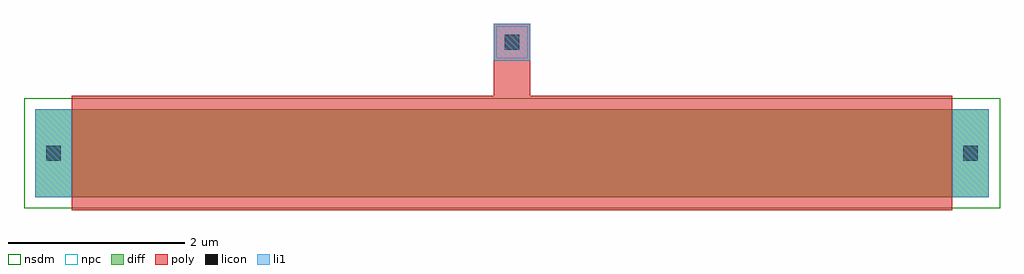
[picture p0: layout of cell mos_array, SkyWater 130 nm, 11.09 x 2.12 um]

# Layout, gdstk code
import gdstk
lib = gdstk.Library(unit=1e-6, precision=1e-09)
def R(c, l, rs):  # rectangles x0, y0, x1, y1
    for r in rs: c.add(gdstk.rectangle(r[:2], r[2:], *l))
diff = (65, 20)
poly = (66, 20)
licon = (66, 44)
li1 = (67, 20)
nsdm = (93, 44)
npc = (95, 20)

mos_array = lib.new_cell('mos_array')
R(mos_array, diff, [(0,0,10.84,1)])
R(mos_array, poly, [(0.42,-0.15,10.42,1), (0.42,1,10.42,1.15), (0.42,1,10.42,1.15), (5.21,1.15,5.63,1.97)])
R(mos_array, licon, [(0.125,0.415,0.295,0.585), (10.545,0.415,10.715,0.585), (5.335,1.675,5.505,1.845)])
R(mos_array, li1, [(0,0,0.42,1), (10.42,0,10.84,1), (5.21,1.55,5.63,1.97)])
R(mos_array, nsdm, [(-0.125,-0.125,10.965,1.125)])
R(mos_array, npc, [(5.24,1.58,5.6,1.94)])

lib.write_gds('mos_array.gds')
